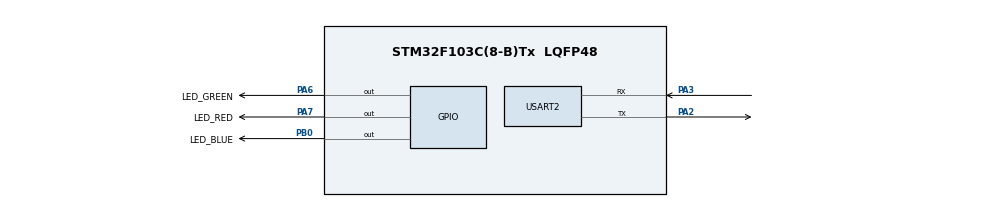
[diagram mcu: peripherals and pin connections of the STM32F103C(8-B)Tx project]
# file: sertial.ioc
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Dma.Request0=USART2_RX
Dma.Request1=USART2_TX
Dma.USART2_RX.0.Direction=DMA_PERIPH_TO_MEMORY
Dma.USART2_RX.0.Instance=DMA1_Channel6
Dma.USART2_RX.0.MemDataAlignment=DMA_MDATAALIGN_BYTE
Dma.USART2_RX.0.MemInc=DMA_MINC_ENABLE
Dma.USART2_RX.0.Mode=DMA_NORMAL
Dma.USART2_RX.0.PeriphDataAlignment=DMA_PDATAALIGN_BYTE
Dma.USART2_RX.0.PeriphInc=DMA_PINC_DISABLE
Dma.USART2_RX.0.Priority=DMA_PRIORITY_LOW
Dma.USART2_TX.1.Direction=DMA_MEMORY_TO_PERIPH
Dma.USART2_TX.1.Instance=DMA1_Channel7
Dma.USART2_TX.1.MemDataAlignment=DMA_MDATAALIGN_BYTE
Dma.USART2_TX.1.MemInc=DMA_MINC_ENABLE
Dma.USART2_TX.1.Mode=DMA_NORMAL
Dma.USART2_TX.1.PeriphDataAlignment=DMA_PDATAALIGN_BYTE
Dma.USART2_TX.1.PeriphInc=DMA_PINC_DISABLE
Dma.USART2_TX.1.Priority=DMA_PRIORITY_LOW
Mcu.Family=STM32F1
Mcu.Name=STM32F103C(8-B)Tx
Mcu.Package=LQFP48
NVIC.DMA1_Channel6_IRQn=true\:0\:0\:false\:false\:true\:false\:true\:true
NVIC.DMA1_Channel7_IRQn=true\:0\:0\:false\:false\:true\:false\:true\:true
NVIC.PriorityGroup=NVIC_PRIORITYGROUP_4
NVIC.USART2_IRQn=true\:0\:0\:false\:false\:true\:true\:true\:true
PA13.Mode=Serial_Wire
PA13.Signal=SYS_JTMS-SWDIO
PA14.Mode=Serial_Wire
PA14.Signal=SYS_JTCK-SWCLK
PA2.Mode=Asynchronous
PA2.Signal=USART2_TX
PA3.Mode=Asynchronous
PA3.Signal=USART2_RX
PA6.GPIO_Label=LED_GREEN
PA6.PinState=GPIO_PIN_RESET
PA6.Signal=GPIO_Output
PA7.GPIO_Label=LED_RED
PA7.Signal=GPIO_Output
PB0.GPIO_Label=LED_BLUE
PB0.Signal=GPIO_Output
ProjectManager.HeapSize=0x200
ProjectManager.StackSize=0x400
ProjectManager.TargetToolchain=MDK-ARM V5.32
RCC.APB1Freq_Value=8000000
RCC.APB2Freq_Value=8000000
USART2.VirtualMode=VM_ASYNC
board=custom

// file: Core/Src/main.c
/* USER CODE BEGIN Header */
/**
  ******************************************************************************
  * @file           : main.c
  * @brief          : Main program body
  ******************************************************************************
  * @attention
  *
  * Copyright (c) 2026 STMicroelectronics.
  * All rights reserved.
  *
  * This software is licensed under terms that can be found in the LICENSE file
  * in the root directory of this software component.
  * If no LICENSE file comes with this software, it is provided AS-IS.
  *
  ******************************************************************************
  */
/* USER CODE END Header */
#include "main.h"

/* USER CODE BEGIN Includes */
#include<string.h>
/* USER CODE END Includes */

UART_HandleTypeDef huart2;
DMA_HandleTypeDef hdma_usart2_rx;
DMA_HandleTypeDef hdma_usart2_tx;

/* USER CODE BEGIN PV */
uint8_t recieveData[50];
/* USER CODE END PV */

void SystemClock_Config(void);
static void MX_GPIO_Init(void);
static void MX_DMA_Init(void);
static void MX_USART2_UART_Init(void);

/* USER CODE BEGIN 0 */
void HAL_UART_RxCpltCallback(UART_HandleTypeDef *huart)
{
    HAL_UART_Transmit_DMA(&huart2, recieveData, 2);
    GPIO_PinState state =GPIO_PIN_SET;
    if(recieveData[1]=='0')
    {
      state = GPIO_PIN_RESET;
    }
    if(recieveData[0]=='R')
    {
      HAL_GPIO_WritePin(LED_RED_GPIO_Port, LED_RED_Pin, state);
    }
    else if(recieveData[0]=='G')
    {
      HAL_GPIO_WritePin(LED_GREEN_GPIO_Port, LED_GREEN_Pin, state);
    }
    else if(recieveData[0]=='B')
    {
      HAL_GPIO_WritePin(LED_BLUE_GPIO_Port, LED_BLUE_Pin, state);
    }
  HAL_UART_Receive_DMA(&huart2, recieveData, 2);
}

void HAL_UARTEx_RxEventCallback(UART_HandleTypeDef *huart, uint16_t Size)
{
  if (huart == &huart2)
  {
    HAL_UART_Transmit_DMA(&huart2, recieveData, Size);

    for (uint16_t i = 0; i + 1 < Size; i += 2)
    {
      GPIO_PinState state = GPIO_PIN_SET;
      if (recieveData[i + 1] == '0')
      {
        state = GPIO_PIN_RESET;
      }
      if (recieveData[i] == 'R')
      {
        HAL_GPIO_WritePin(LED_RED_GPIO_Port, LED_RED_Pin, state);
      }
      else if (recieveData[i] == 'G')
      {
        HAL_GPIO_WritePin(LED_GREEN_GPIO_Port, LED_GREEN_Pin, state);
      }
      else if (recieveData[i] == 'B')
      {
        HAL_GPIO_WritePin(LED_BLUE_GPIO_Port, LED_BLUE_Pin, state);
      }
    }
  }
  HAL_UARTEx_ReceiveToIdle_DMA(&huart2, recieveData, sizeof(recieveData));
  __HAL_DMA_DISABLE_IT(&hdma_usart2_rx,DMA_IT_HT);
}

/* USER CODE END 0 */

int main(void)
{

  /* MCU Configuration--------------------------------------------------------*/

  /* Reset of all peripherals, Initializes the Flash interface and the Systick. */
  HAL_Init();

  /* Configure the system clock */
  SystemClock_Config();

  /* Initialize all configured peripherals */
  MX_GPIO_Init();
  MX_DMA_Init();
  MX_USART2_UART_Init();
  /* USER CODE BEGIN 2 */
  HAL_UARTEx_ReceiveToIdle_DMA(&huart2, recieveData, sizeof(recieveData));
  __HAL_DMA_DISABLE_IT(&hdma_usart2_rx,DMA_IT_HT);
  /* USER CODE END 2 */

  /* Infinite loop */
  while (1)
  {

  }
}

void SystemClock_Config(void)
{
  RCC_OscInitTypeDef RCC_OscInitStruct = {0};
  RCC_ClkInitTypeDef RCC_ClkInitStruct = {0};

  /** Initializes the RCC Oscillators according to the specified parameters
  * in the RCC_OscInitTypeDef structure.
  */
  RCC_OscInitStruct.OscillatorType = RCC_OSCILLATORTYPE_HSI;
  RCC_OscInitStruct.HSIState = RCC_HSI_ON;
  RCC_OscInitStruct.HSICalibrationValue = RCC_HSICALIBRATION_DEFAULT;
  RCC_OscInitStruct.PLL.PLLState = RCC_PLL_NONE;
  if (HAL_RCC_OscConfig(&RCC_OscInitStruct) != HAL_OK)
  {
    Error_Handler();
  }

  /** Initializes the CPU, AHB and APB buses clocks
  */
  RCC_ClkInitStruct.ClockType = RCC_CLOCKTYPE_HCLK|RCC_CLOCKTYPE_SYSCLK
                              |RCC_CLOCKTYPE_PCLK1|RCC_CLOCKTYPE_PCLK2;
  RCC_ClkInitStruct.SYSCLKSource = RCC_SYSCLKSOURCE_HSI;
  RCC_ClkInitStruct.AHBCLKDivider = RCC_SYSCLK_DIV1;
  RCC_ClkInitStruct.APB1CLKDivider = RCC_HCLK_DIV1;
  RCC_ClkInitStruct.APB2CLKDivider = RCC_HCLK_DIV1;

  if (HAL_RCC_ClockConfig(&RCC_ClkInitStruct, FLASH_LATENCY_0) != HAL_OK)
  {
    Error_Handler();
  }
}

static void MX_DMA_Init(void)
{

  /* DMA controller clock enable */
  __HAL_RCC_DMA1_CLK_ENABLE();

  /* DMA interrupt init */
  /* DMA1_Channel6_IRQn interrupt configuration */
  HAL_NVIC_SetPriority(DMA1_Channel6_IRQn, 0, 0);
  HAL_NVIC_EnableIRQ(DMA1_Channel6_IRQn);
  /* DMA1_Channel7_IRQn interrupt configuration */
  HAL_NVIC_SetPriority(DMA1_Channel7_IRQn, 0, 0);
  HAL_NVIC_EnableIRQ(DMA1_Channel7_IRQn);

}

static void MX_USART2_UART_Init(void)
{

  huart2.Instance = USART2;
  huart2.Init.BaudRate = 115200;
  huart2.Init.WordLength = UART_WORDLENGTH_8B;
  huart2.Init.StopBits = UART_STOPBITS_1;
  huart2.Init.Parity = UART_PARITY_NONE;
  huart2.Init.Mode = UART_MODE_TX_RX;
  huart2.Init.HwFlowCtl = UART_HWCONTROL_NONE;
  huart2.Init.OverSampling = UART_OVERSAMPLING_16;
  if (HAL_UART_Init(&huart2) != HAL_OK)
  {
    Error_Handler();
  }

}

static void MX_GPIO_Init(void)
{
  GPIO_InitTypeDef GPIO_InitStruct = {0};

  /* GPIO Ports Clock Enable */
  __HAL_RCC_GPIOA_CLK_ENABLE();
  __HAL_RCC_GPIOB_CLK_ENABLE();

  /*Configure GPIO pin Output Level */
  HAL_GPIO_WritePin(GPIOA, LED_GREEN_Pin|LED_RED_Pin, GPIO_PIN_RESET);

  /*Configure GPIO pin Output Level */
  HAL_GPIO_WritePin(LED_BLUE_GPIO_Port, LED_BLUE_Pin, GPIO_PIN_RESET);

  /*Configure GPIO pins : LED_GREEN_Pin LED_RED_Pin */
  GPIO_InitStruct.Pin = LED_GREEN_Pin|LED_RED_Pin;
  GPIO_InitStruct.Mode = GPIO_MODE_OUTPUT_PP;
  GPIO_InitStruct.Pull = GPIO_NOPULL;
  GPIO_InitStruct.Speed = GPIO_SPEED_FREQ_LOW;
  HAL_GPIO_Init(GPIOA, &GPIO_InitStruct);

  /*Configure GPIO pin : LED_BLUE_Pin */
  GPIO_InitStruct.Pin = LED_BLUE_Pin;
  GPIO_InitStruct.Mode = GPIO_MODE_OUTPUT_PP;
  GPIO_InitStruct.Pull = GPIO_NOPULL;
  GPIO_InitStruct.Speed = GPIO_SPEED_FREQ_LOW;
  HAL_GPIO_Init(LED_BLUE_GPIO_Port, &GPIO_InitStruct);

}

void Error_Handler(void)
{
  __disable_irq();
  while (1)
  {
  }
}
